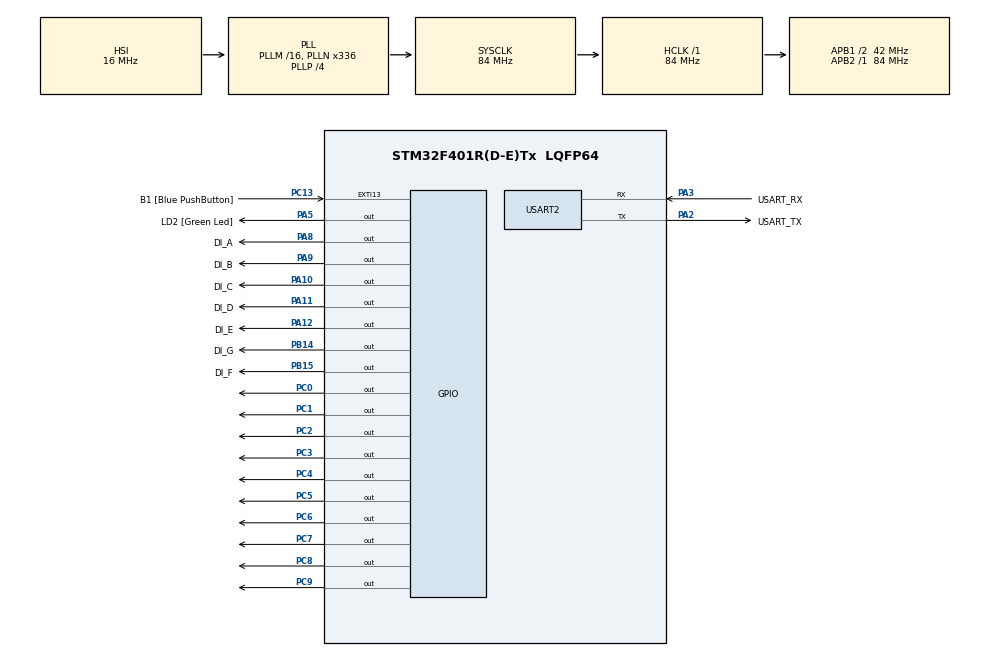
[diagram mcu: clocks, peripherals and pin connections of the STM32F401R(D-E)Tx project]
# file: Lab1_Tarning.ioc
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Mcu.Family=STM32F4
Mcu.Name=STM32F401R(D-E)Tx
Mcu.Package=LQFP64
NVIC.PriorityGroup=NVIC_PRIORITYGROUP_0
PA10.GPIO_Label=DI_C
PA10.Signal=GPIO_Output
PA11.GPIO_Label=DI_D
PA11.Signal=GPIO_Output
PA12.GPIO_Label=DI_E
PA12.Signal=GPIO_Output
PA13.GPIO_Label=TMS
PA13.Mode=Serial_Wire
PA13.Signal=SYS_JTMS-SWDIO
PA14.GPIO_Label=TCK
PA14.Mode=Serial_Wire
PA14.Signal=SYS_JTCK-SWCLK
PA2.GPIO_Label=USART_TX
PA2.GPIO_Mode=GPIO_MODE_AF_PP
PA2.GPIO_PuPd=GPIO_NOPULL
PA2.GPIO_Speed=GPIO_SPEED_FREQ_LOW
PA2.Mode=Asynchronous
PA2.Signal=USART2_TX
PA3.GPIO_Label=USART_RX
PA3.GPIO_Mode=GPIO_MODE_AF_PP
PA3.GPIO_PuPd=GPIO_NOPULL
PA3.GPIO_Speed=GPIO_SPEED_FREQ_LOW
PA3.Mode=Asynchronous
PA3.Signal=USART2_RX
PA5.GPIO_Label=LD2 [Green Led]
PA5.GPIO_Mode=GPIO_MODE_OUTPUT_PP
PA5.GPIO_PuPd=GPIO_NOPULL
PA5.GPIO_Speed=GPIO_SPEED_FREQ_LOW
PA5.Signal=GPIO_Output
PA8.GPIO_Label=DI_A
PA8.Signal=GPIO_Output
PA9.GPIO_Label=DI_B
PA9.Signal=GPIO_Output
PB14.GPIO_Label=DI_G
PB14.Signal=GPIO_Output
PB15.GPIO_Label=DI_F
PB15.Signal=GPIO_Output
PB3.GPIO_Label=SWO
PB3.Signal=SYS_JTDO-SWO
PC0.Signal=GPIO_Output
PC1.Signal=GPIO_Output
PC13-ANTI_TAMP.GPIO_Label=B1 [Blue PushButton]
PC13-ANTI_TAMP.GPIO_ModeDefaultEXTI=GPIO_MODE_IT_FALLING
PC13-ANTI_TAMP.GPIO_PuPd=GPIO_NOPULL
PC13-ANTI_TAMP.Signal=GPXTI13
PC14-OSC32_IN.Mode=LSE-External-Oscillator
PC14-OSC32_IN.Signal=RCC_OSC32_IN
PC15-OSC32_OUT.Mode=LSE-External-Oscillator
PC15-OSC32_OUT.Signal=RCC_OSC32_OUT
PC2.Signal=GPIO_Output
PC3.Signal=GPIO_Output
PC4.Signal=GPIO_Output
PC5.Signal=GPIO_Output
PC6.Signal=GPIO_Output
PC7.Signal=GPIO_Output
PC8.Signal=GPIO_Output
PC9.Signal=GPIO_Output
PH0\ -\ OSC_IN.Mode=HSE-External-Clock-Source
PH0\ -\ OSC_IN.Signal=RCC_OSC_IN
PH1\ -\ OSC_OUT.Mode=HSE-External-Clock-Source
PH1\ -\ OSC_OUT.Signal=RCC_OSC_OUT
ProjectManager.HeapSize=0x200
ProjectManager.StackSize=0x400
ProjectManager.TargetToolchain=STM32CubeIDE
RCC.48MHZClocksFreq_Value=48000000
RCC.AHBFreq_Value=84000000
RCC.APB1CLKDivider=RCC_HCLK_DIV2
RCC.APB1Freq_Value=42000000
RCC.APB1TimFreq_Value=84000000
RCC.APB2Freq_Value=84000000
RCC.APB2TimFreq_Value=84000000
RCC.CortexFreq_Value=84000000
RCC.HCLKFreq_Value=84000000
RCC.HSE_VALUE=8000000
RCC.HSI_VALUE=16000000
RCC.PLLN=336
RCC.PLLP=RCC_PLLP_DIV4
RCC.PLLQ=7
RCC.SYSCLKFreq_VALUE=84000000
RCC.SYSCLKSource=RCC_SYSCLKSOURCE_PLLCLK
RCC.VCOOutputFreq_Value=336000000
USART2.VirtualMode=VM_ASYNC
board=NUCLEO-F401RE

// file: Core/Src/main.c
/* USER CODE BEGIN Header */
/**
  ******************************************************************************
  * @file           : main.c
  * @brief          : Main program body
  ******************************************************************************
  * @attention
  *
  * Copyright (c) 2024 STMicroelectronics.
  * All rights reserved.
  *
  * This software is licensed under terms that can be found in the LICENSE file
  * in the root directory of this software component.
  * If no LICENSE file comes with this software, it is provided AS-IS.
  *
  ******************************************************************************
  */
/* USER CODE END Header */
#include "main.h"
#include <stdio.h>

UART_HandleTypeDef huart2;

void SystemClock_Config(void);
static void MX_GPIO_Init(void);
static void MX_USART2_UART_Init(void);
/* USER CODE BEGIN PFP */
int is_blue_button_pressed();
/* USER CODE END PFP */

/* USER CODE BEGIN 0 */

//returns 1 if blue is pressed
//returns 0 if blue isn't pressed
int is_blue_button_pressed()
{
	uint32_t reg_reading = GPIOC->IDR;

	if (reg_reading & (1 << 13))
	{
		return 1;
	}
	else
	{
	return 0;
	}
}

void put_die_dots(uint8_t die_nbr)
{
    // Define the ports and pins for each diode as per the CubeMX configuration
    GPIO_TypeDef* ports[] = {GPIOA, GPIOA, GPIOA, GPIOA, GPIOA, GPIOB, GPIOB};
    uint16_t pins[] = {GPIO_PIN_8, GPIO_PIN_9, GPIO_PIN_10, GPIO_PIN_11, GPIO_PIN_12, GPIO_PIN_15, GPIO_PIN_14};

    // Turn off all LEDs initially
    for (int i = 0; i < 7; i++)
    {
        HAL_GPIO_WritePin(ports[i], pins[i], GPIO_PIN_RESET);
    }

    // Use a switch-case statement to light up the LEDs based on the die value
    switch(die_nbr)
    {
        case 1:
            HAL_GPIO_WritePin(GPIOA, GPIO_PIN_11, GPIO_PIN_SET);  // DI_D
            break;

        case 2:
            HAL_GPIO_WritePin(GPIOA, GPIO_PIN_8, GPIO_PIN_SET);  // DI_A
            HAL_GPIO_WritePin(GPIOB, GPIO_PIN_14, GPIO_PIN_SET); // DI_G
            break;

        case 3:
            HAL_GPIO_WritePin(GPIOA, GPIO_PIN_8, GPIO_PIN_SET);  // DI_A
            HAL_GPIO_WritePin(GPIOA, GPIO_PIN_11, GPIO_PIN_SET);  // DI_D
            HAL_GPIO_WritePin(GPIOB, GPIO_PIN_14, GPIO_PIN_SET); // DI_G
            break;

        case 4:
            HAL_GPIO_WritePin(GPIOA, GPIO_PIN_8, GPIO_PIN_SET);  // DI_A
            HAL_GPIO_WritePin(GPIOA, GPIO_PIN_10, GPIO_PIN_SET);  // DI_C
            HAL_GPIO_WritePin(GPIOA, GPIO_PIN_12, GPIO_PIN_SET);  // DI_E
            HAL_GPIO_WritePin(GPIOB, GPIO_PIN_14, GPIO_PIN_SET); // DI_G
            break;

        case 5:
            HAL_GPIO_WritePin(GPIOA, GPIO_PIN_8, GPIO_PIN_SET);  // DI_A
            HAL_GPIO_WritePin(GPIOA, GPIO_PIN_10, GPIO_PIN_SET);  // DI_C
            HAL_GPIO_WritePin(GPIOA, GPIO_PIN_11, GPIO_PIN_SET);  // DI_D
            HAL_GPIO_WritePin(GPIOA, GPIO_PIN_12, GPIO_PIN_SET);  // DI_E
            HAL_GPIO_WritePin(GPIOB, GPIO_PIN_14, GPIO_PIN_SET); // DI_G
            break;

        case 6:
            HAL_GPIO_WritePin(GPIOA, GPIO_PIN_8, GPIO_PIN_SET);  // DI_A
            HAL_GPIO_WritePin(GPIOA, GPIO_PIN_9, GPIO_PIN_SET);  // DI_B
            HAL_GPIO_WritePin(GPIOA, GPIO_PIN_10, GPIO_PIN_SET);  // DI_C
            HAL_GPIO_WritePin(GPIOA, GPIO_PIN_12, GPIO_PIN_SET);  // DI_E
            HAL_GPIO_WritePin(GPIOB, GPIO_PIN_15, GPIO_PIN_SET); // DI_F
            HAL_GPIO_WritePin(GPIOB, GPIO_PIN_14, GPIO_PIN_SET); // DI_G
            break;

        default:
            // Turn on all LEDs for an invalid die_nbr
            for (int i = 0; i < 7; i++)
            {
                HAL_GPIO_WritePin(ports[i], pins[i], GPIO_PIN_SET);
            }

    }
}

const uint8_t sseg[10] =
	{
		0x3F, //0
		0x06, //1
		0x5B, //2
		0x4F, //3
		0x66, //4
		0x6D, //5
		0x7D, //6
		0x07, //7
		0x7F, //8
		0x6F  //9
	};

const uint8_t sseg_err = 0xDC;

void put_on_sseg(uint8_t dec_nbr)
{
    uint8_t pattern;

    // Kontrollera om indatan är giltig (0–9), annars använd felmönster
    if (dec_nbr <= 9) {
        pattern = sseg[dec_nbr]; // Hämta mönstret från arrayen
    } else {
        pattern = sseg_err;      // Använd felmönstret vid ogiltig indata
    }

    pattern = ~pattern;

    // Skriv ut mönstret till sjusegmentsdisplayen genom att direkt sätta GPIO-registret
    GPIOC->ODR = (GPIOC->ODR & 0xFF00) | (pattern & 0xFF);
}

/* USER CODE END 0 */

int main(void)
{

  /* MCU Configuration--------------------------------------------------------*/

  /* Reset of all peripherals, Initializes the Flash interface and the Systick. */
  HAL_Init();

  /* Configure the system clock */
  SystemClock_Config();

  /* Initialize all configured peripherals */
  MX_GPIO_Init();
  MX_USART2_UART_Init();

  /* Infinite loop */
  /* USER CODE BEGIN WHILE */
  int pressed = 0;
  uint8_t die_value = 1; //1<= die_value <= 6

 //for(uint8_t i = 0; i <= 9; i++)
 //	   {
 // 	put_on_sseg(i);
  //	HAL_Delay(333);
  //	}

  //put_on_sseg(88); //should display the error pattern

  uint32_t arr[10];
  void test_endianness()
  {
  /*
  Initialize the array. The compiler knows that we're dealing
  with 32-bit numbers so if arr[i + 0] points to
  address 0x3000 then arr[i + 1] will point to 0x3004
  (and NOT to 0x3001).
  */
  for (int i = 0; i < 10; i += 2) // note: += 2
  {
  arr[i + 0] = 0xDEADBEEF;
  arr[i + 1] = 0xCAFED00D;
  }

  uint16_t a = arr[0];
  uint16_t b = arr[1];
  uint16_t c = arr[2];
  uint8_t x = arr[0];
  uint8_t y = arr[1];
  // You may THINK you’re 32 bits. I know better than you.
  // Base pointers (arr, arr8) will point to same cell though.
  uint8_t *arr8 = (uint8_t *) arr;
  uint8_t p = arr8[0];
  uint8_t q = arr8[1];
  uint8_t r = arr8[2];
  uint8_t s = arr8[3];
  uint8_t t = arr8[4];

  uint16_t babe = 0xBABE;
  arr[0] = babe; // putting u16 in an u32 slot

  return;
  }
  test_endianness();

  while (1)
  {
    /* USER CODE END WHILE */

	  pressed = HAL_GPIO_ReadPin(B1_GPIO_Port, B1_Pin);
	  // Check if the button is pressed
	      if (HAL_GPIO_ReadPin(B1_GPIO_Port, B1_Pin) == GPIO_PIN_RESET)
	      {
	          // Button is pressed
	    	  //Led2
	    	  HAL_GPIO_WritePin(LD2_GPIO_Port, LD2_Pin, GPIO_PIN_SET);

	          if (!pressed) // Check if the button was not previously pressed
	          {
	              // Increase the dice value and wrap around if needed
	              die_value++;
	              if (die_value > 6) {
	                  die_value = 1;
	              }
	              // Display the dice value
	              put_die_dots(die_value);
	              // Set the flag indicating that the dice value has been updated
	              pressed = 1;
	          }
	      }
	      else
	      {
	          // Button is not pressed
	          pressed = 0; // Reset the flag when the button is not pressed
	      }
	      put_on_sseg(die_value);

  }
}

void SystemClock_Config(void)
{
  RCC_OscInitTypeDef RCC_OscInitStruct = {0};
  RCC_ClkInitTypeDef RCC_ClkInitStruct = {0};

  /** Configure the main internal regulator output voltage
  */
  __HAL_RCC_PWR_CLK_ENABLE();
  __HAL_PWR_VOLTAGESCALING_CONFIG(PWR_REGULATOR_VOLTAGE_SCALE2);

  /** Initializes the RCC Oscillators according to the specified parameters
  * in the RCC_OscInitTypeDef structure.
  */
  RCC_OscInitStruct.OscillatorType = RCC_OSCILLATORTYPE_HSI;
  RCC_OscInitStruct.HSIState = RCC_HSI_ON;
  RCC_OscInitStruct.HSICalibrationValue = RCC_HSICALIBRATION_DEFAULT;
  RCC_OscInitStruct.PLL.PLLState = RCC_PLL_ON;
  RCC_OscInitStruct.PLL.PLLSource = RCC_PLLSOURCE_HSI;
  RCC_OscInitStruct.PLL.PLLM = 16;
  RCC_OscInitStruct.PLL.PLLN = 336;
  RCC_OscInitStruct.PLL.PLLP = RCC_PLLP_DIV4;
  RCC_OscInitStruct.PLL.PLLQ = 7;
  if (HAL_RCC_OscConfig(&RCC_OscInitStruct) != HAL_OK)
  {
    Error_Handler();
  }

  /** Initializes the CPU, AHB and APB buses clocks
  */
  RCC_ClkInitStruct.ClockType = RCC_CLOCKTYPE_HCLK|RCC_CLOCKTYPE_SYSCLK
                              |RCC_CLOCKTYPE_PCLK1|RCC_CLOCKTYPE_PCLK2;
  RCC_ClkInitStruct.SYSCLKSource = RCC_SYSCLKSOURCE_PLLCLK;
  RCC_ClkInitStruct.AHBCLKDivider = RCC_SYSCLK_DIV1;
  RCC_ClkInitStruct.APB1CLKDivider = RCC_HCLK_DIV2;
  RCC_ClkInitStruct.APB2CLKDivider = RCC_HCLK_DIV1;

  if (HAL_RCC_ClockConfig(&RCC_ClkInitStruct, FLASH_LATENCY_2) != HAL_OK)
  {
    Error_Handler();
  }
}

static void MX_USART2_UART_Init(void)
{

  huart2.Instance = USART2;
  huart2.Init.BaudRate = 115200;
  huart2.Init.WordLength = UART_WORDLENGTH_8B;
  huart2.Init.StopBits = UART_STOPBITS_1;
  huart2.Init.Parity = UART_PARITY_NONE;
  huart2.Init.Mode = UART_MODE_TX_RX;
  huart2.Init.HwFlowCtl = UART_HWCONTROL_NONE;
  huart2.Init.OverSampling = UART_OVERSAMPLING_16;
  if (HAL_UART_Init(&huart2) != HAL_OK)
  {
    Error_Handler();
  }

}

static void MX_GPIO_Init(void)
{
  GPIO_InitTypeDef GPIO_InitStruct = {0};

  /* GPIO Ports Clock Enable */
  __HAL_RCC_GPIOC_CLK_ENABLE();
  __HAL_RCC_GPIOH_CLK_ENABLE();
  __HAL_RCC_GPIOA_CLK_ENABLE();
  __HAL_RCC_GPIOB_CLK_ENABLE();

  /*Configure GPIO pin Output Level */
  HAL_GPIO_WritePin(GPIOC, GPIO_PIN_0|GPIO_PIN_1|GPIO_PIN_2|GPIO_PIN_3
                          |GPIO_PIN_4|GPIO_PIN_5|GPIO_PIN_6|GPIO_PIN_7
                          |GPIO_PIN_8|GPIO_PIN_9, GPIO_PIN_RESET);

  /*Configure GPIO pin Output Level */
  HAL_GPIO_WritePin(GPIOA, LD2_Pin|DI_A_Pin|DI_B_Pin|DI_C_Pin
                          |DI_D_Pin|DI_E_Pin, GPIO_PIN_RESET);

  /*Configure GPIO pin Output Level */
  HAL_GPIO_WritePin(GPIOB, DI_G_Pin|DI_F_Pin, GPIO_PIN_RESET);

  /*Configure GPIO pin : B1_Pin */
  GPIO_InitStruct.Pin = B1_Pin;
  GPIO_InitStruct.Mode = GPIO_MODE_IT_FALLING;
  GPIO_InitStruct.Pull = GPIO_NOPULL;
  HAL_GPIO_Init(B1_GPIO_Port, &GPIO_InitStruct);

  /*Configure GPIO pins : PC0 PC1 PC2 PC3
                           PC4 PC5 PC6 PC7
                           PC8 PC9 */
  GPIO_InitStruct.Pin = GPIO_PIN_0|GPIO_PIN_1|GPIO_PIN_2|GPIO_PIN_3
                          |GPIO_PIN_4|GPIO_PIN_5|GPIO_PIN_6|GPIO_PIN_7
                          |GPIO_PIN_8|GPIO_PIN_9;
  GPIO_InitStruct.Mode = GPIO_MODE_OUTPUT_PP;
  GPIO_InitStruct.Pull = GPIO_NOPULL;
  GPIO_InitStruct.Speed = GPIO_SPEED_FREQ_LOW;
  HAL_GPIO_Init(GPIOC, &GPIO_InitStruct);

  /*Configure GPIO pins : LD2_Pin DI_A_Pin DI_B_Pin DI_C_Pin
                           DI_D_Pin DI_E_Pin */
  GPIO_InitStruct.Pin = LD2_Pin|DI_A_Pin|DI_B_Pin|DI_C_Pin
                          |DI_D_Pin|DI_E_Pin;
  GPIO_InitStruct.Mode = GPIO_MODE_OUTPUT_PP;
  GPIO_InitStruct.Pull = GPIO_NOPULL;
  GPIO_InitStruct.Speed = GPIO_SPEED_FREQ_LOW;
  HAL_GPIO_Init(GPIOA, &GPIO_InitStruct);

  /*Configure GPIO pins : DI_G_Pin DI_F_Pin */
  GPIO_InitStruct.Pin = DI_G_Pin|DI_F_Pin;
  GPIO_InitStruct.Mode = GPIO_MODE_OUTPUT_PP;
  GPIO_InitStruct.Pull = GPIO_NOPULL;
  GPIO_InitStruct.Speed = GPIO_SPEED_FREQ_LOW;
  HAL_GPIO_Init(GPIOB, &GPIO_InitStruct);

}

void Error_Handler(void)
{
  __disable_irq();
  while (1)
  {
  }
}
